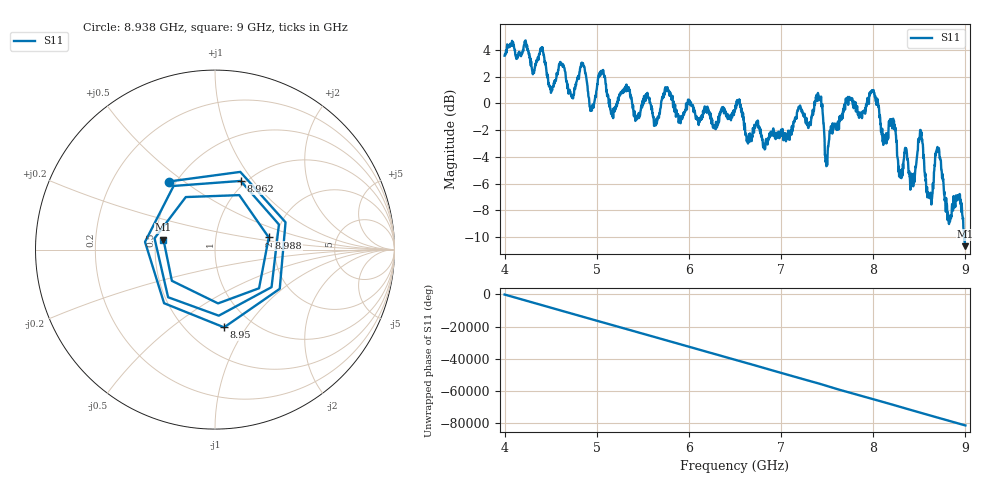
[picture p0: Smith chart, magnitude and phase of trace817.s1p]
! Created with skrf 1.8.0 (http://scikit-rf.org).
# Hz S RI R 50.0
!freq ReS11 ImS11
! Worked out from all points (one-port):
!   1601 points, 4 GHz to 9 GHz, reference 50 ohm
!   lowest |S11| = -10.7 dB at 9 GHz (marker M1), VSWR 1.83, Z = 27.6 + j3.34 ohm
!   |S11| at or under -10 dB: 8.986517 GHz to 8.989428 GHz (2.911 MHz wide, 0.0324 % of centre); 8.992143 GHz to end of sweep
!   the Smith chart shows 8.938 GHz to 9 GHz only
!   S11 on the Smith chart (normalised r, x): 8.938 GHz: 0.46, +0.44; 8.95 GHz: 0.74, -0.80; 8.962 GHz: 0.95, +0.87; 8.988 GHz: 1.83, +0.27; 9 GHz: 0.55, +0.07
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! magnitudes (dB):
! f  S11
! 4 GHz  3.6
! 4.506 GHz  0.9
! 4.625 GHz  2.9
! 4.728 GHz  0.6
! 4.853 GHz  2.9
! 4.944 GHz  -0.2
! 5.047 GHz  2.2
! 5.169 GHz  -0.7
! 5.25 GHz  0.6
! 5.875 GHz  -0.8
! 6.5 GHz  -0.5
! 6.828 GHz  -3.4
! 7.125 GHz  -1.9
! 7.409 GHz  0.5
! 7.497 GHz  -4.2
! 7.75 GHz  0.4
! 7.997 GHz  1.0
! 8.375 GHz  -4.2
! 8.428 GHz  -5.4
! 8.512 GHz  -2.0
! 8.612 GHz  -7.0
! 8.7 GHz  -3.6
! 8.825 GHz  -8.8
! 8.938 GHz  -6.8
! 8.95 GHz  -7.2
! 8.962 GHz  -7.8
! 8.988 GHz  -10.3
! 9 GHz  -10.7
